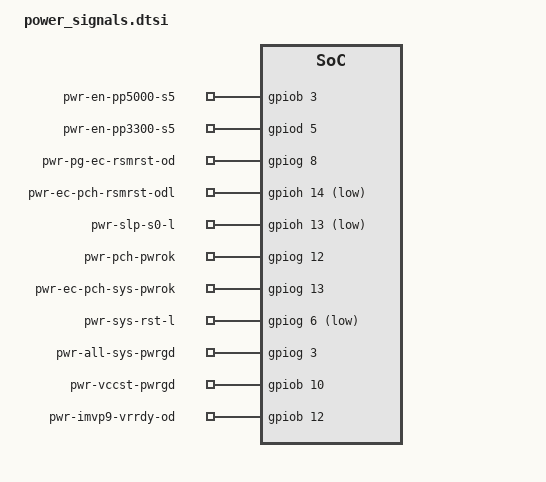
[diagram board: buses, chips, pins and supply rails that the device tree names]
/* Copyright 2025 The ChromiumOS Authors
 * Use of this source code is governed by a BSD-style license that can be
 * found in the LICENSE file.
 */

#include <dt-bindings/gpio_defines.h>
#include <dt-bindings/gpio/realtek-gpio.h>

/ {
	chosen {
		intel-ap-pwrseq,espi = &espi0;
	};

	common-pwrseq {
		compatible = "intel,ap-pwrseq";
		sys-pwrok-delay = <10>;
		all-sys-pwrgd-timeout = <20>;
	};

	pwr-en-pp5000-s5 {
		compatible = "intel,ap-pwrseq-gpio";
		dbg-label = "PP5000_S5 enable output to regulator";
		enum-name = "PWR_EN_PP5000_A";
		gpios = <&gpiob 3 0>;
		output;
	};
	pwr-en-pp3300-s5 {
		compatible = "intel,ap-pwrseq-gpio";
		dbg-label = "PP3300_S5 enable output to LS";
		enum-name = "PWR_EN_PP3300_A";
		gpios = <&gpiod 5 0>;
		output;
	};
	pwr-pg-ec-rsmrst-od {
		compatible = "intel,ap-pwrseq-gpio";
		dbg-label = "RSMRST power good from regulator";
		enum-name = "PWR_RSMRST_PWRGD";
		gpios = <&gpiog 8 0>;
		interrupt-flags = <GPIO_INT_EDGE_BOTH>;
	};
	pwr-ec-pch-rsmrst-odl {
		compatible = "intel,ap-pwrseq-gpio";
		dbg-label = "RSMRST output to PCH";
		enum-name = "PWR_EC_PCH_RSMRST";
		gpios = <&gpioh 14 (GPIO_ACTIVE_LOW | GPIO_VOLTAGE_1P8)>;
		reset-val = <1>;
		output;
	};
	pwr-slp-s0-l {
		compatible = "intel,ap-pwrseq-gpio";
		dbg-label = "SLP_S0_L input from PCH";
		enum-name = "PWR_SLP_S0";
		gpios = <&gpioh 13 (GPIO_ACTIVE_LOW | GPIO_VOLTAGE_1P8)>;
		interrupt-flags = <GPIO_INT_EDGE_BOTH>;
	};
	pwr-pch-pwrok {
		compatible = "intel,ap-pwrseq-gpio";
		dbg-label = "PCH_PWROK output to PCH";
		enum-name = "PWR_PCH_PWROK";
		gpios = <&gpiog 12 GPIO_VOLTAGE_1P8>;
		output;
	};
	pwr-ec-pch-sys-pwrok {
		compatible = "intel,ap-pwrseq-gpio";
		dbg-label = "SYS_PWROK output to PCH";
		enum-name = "PWR_EC_PCH_SYS_PWROK";
		gpios = <&gpiog 13 GPIO_VOLTAGE_1P8>;
		output;
	};
	pwr-sys-rst-l {
		compatible = "intel,ap-pwrseq-gpio";
		dbg-label = "SYS_RESET# output to PCH";
		enum-name = "PWR_SYS_RST";
		gpios = <&gpiog 6 (GPIO_ACTIVE_LOW | GPIO_OPEN_DRAIN |
				  GPIO_VOLTAGE_1P8)>;
		output;
	};
	pwr-all-sys-pwrgd {
		compatible = "intel,ap-pwrseq-gpio";
		dbg-label = "all power good";
		enum-name = "PWR_ALL_SYS_PWRGD";
		gpios = <&gpiog 3 GPIO_ACTIVE_HIGH>;
		output;
	};
	pwr-vccst-pwrgd {
		compatible = "intel,ap-pwrseq-gpio";
		dbg-label = "VCCST PWRGD input from VR";
		enum-name = "PWR_VCCST_PWRGD";
		gpios = <&gpiob 10 GPIO_ACTIVE_HIGH>;
		interrupt-flags = <GPIO_INT_EDGE_BOTH>;
	};
	pwr-imvp9-vrrdy-od {
		compatible = "intel,ap-pwrseq-gpio";
		dbg-label = "VRRDY input from IMVP9";
		enum-name = "PWR_IMVP9_VRRDY";
		gpios = <&gpiob 12 0>;
	};
	pwr-slp-s3 {
		compatible = "intel,ap-pwrseq-vw";
		dbg-label = "SLP_S3 virtual wire input from PCH";
		enum-name = "PWR_SLP_S3";
		virtual-wire = "ESPI_VWIRE_SIGNAL_SLP_S3";
		reset-val = <1>;
		vw-invert;
	};
	pwr-slp-s4 {
		compatible = "intel,ap-pwrseq-vw";
		dbg-label = "SLP_S4 virtual wire input from PCH";
		enum-name = "PWR_SLP_S4";
		virtual-wire = "ESPI_VWIRE_SIGNAL_SLP_S4";
		reset-val = <1>;
		vw-invert;
	};
	pwr-slp-s5 {
		compatible = "intel,ap-pwrseq-vw";
		dbg-label = "SLP_S5 virtual wire input from PCH";
		enum-name = "PWR_SLP_S5";
		virtual-wire = "ESPI_VWIRE_SIGNAL_SLP_S5";
		reset-val = <1>;
		vw-invert;
	};
	pwr_pltrst: pwr-pltrst {
		compatible = "intel,ap-pwrseq-vw";
		dbg-label = "PLTRST virtual wire input from PCH";
		enum-name = "PWR_PLTRST";
		virtual-wire = "ESPI_VWIRE_SIGNAL_PLTRST";
		reset-val = <1>;
		vw-invert;
	};
	ap-power {
		compatible = "ap-pwrseq-sub-states";
		chipset = "S0ix";
	};
};
